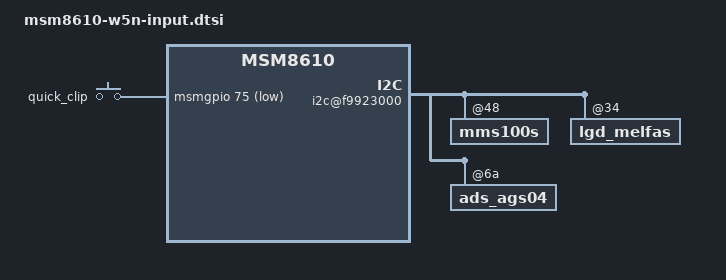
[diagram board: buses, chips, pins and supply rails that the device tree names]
/* Copyright (c) 2012, Code Aurora Forum. All rights reserved.
 *
 * This program is free software; you can redistribute it and/or modify
 * it under the terms of the GNU General Public License version 2 and
 * only version 2 as published by the Free Software Foundation.
 *
 * This program is distributed in the hope that it will be useful,
 * but WITHOUT ANY WARRANTY; without even the implied warranty of
 * MERCHANTABILITY or FITNESS FOR A PARTICULAR PURPOSE.  See the
 * GNU General Public License for more details.
 */

&soc {
	i2c@f9923000{
		mms100s@48 {
			melfas,product = "I2S45B";
			melfas,max-x = <480>;
			melfas,max-y = <800>;
                        melfas,use_vdd_i2c = <1>;
			melfas,gpio-vdd-en = <62>;
			melfas,key-map = <158 139>;
			melfas,fw-image-name = "melfas/w5n_vdf_eu/w5n_vdf_eu_rev_b_v05.mfsb";
			status = "ok";
			revision = "rev_b...";
		};

		lgd_melfas@34 {
			status = "ok";
			revision = "rev_a";
		};

		ads_ags04@6a {
			status = "ok";
			revision = "rev_a";
		};
	};
	gpio_keys {
		quick_clip {
			label = "quick_clip";
			gpios = <&msmgpio 75 0x1>;
			linux,input-type = <1>;
			linux,code = <250>;
			gpio-key,wakeup;
			debounce-interval = <15>;
		};
	};
};
